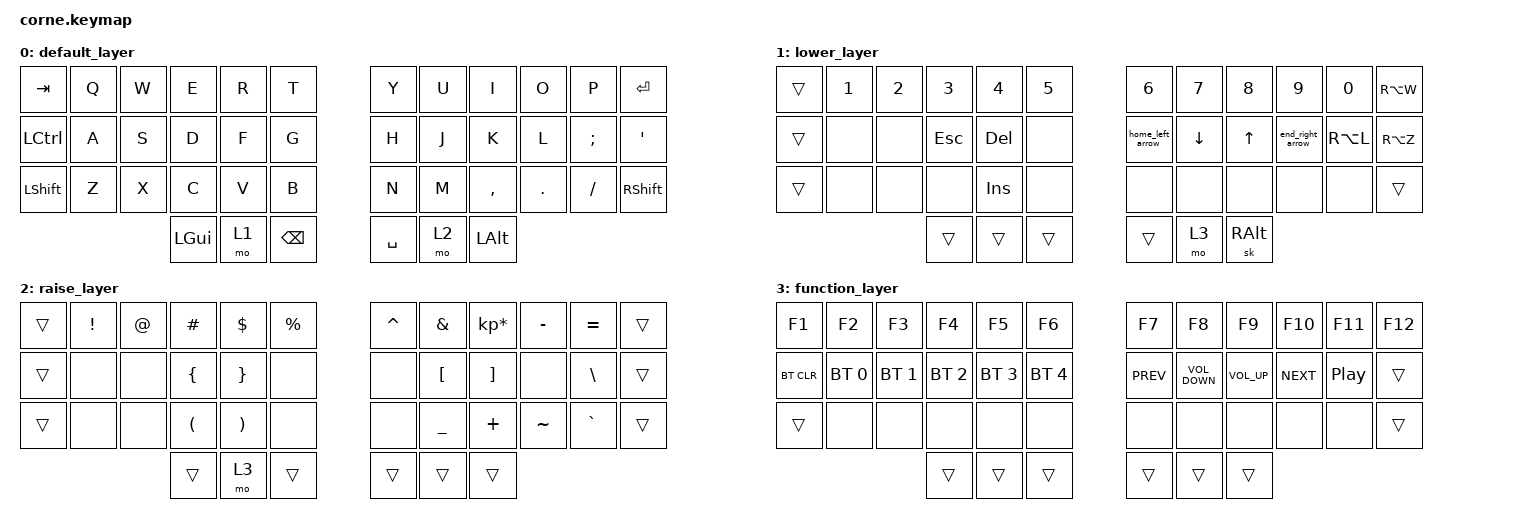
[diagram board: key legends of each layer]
/*
 * Copyright (c) 2020 The ZMK Contributors
 *
 * SPDX-License-Identifier: MIT
 */

#include <behaviors.dtsi>
#include <dt-bindings/zmk/bt.h>
#include <dt-bindings/zmk/keys.h>

/ {
    combos {
        compatible = "zmk,combos";
    };

    behaviors {
        end_right_arrow: end_right_arrow {
            compatible = "zmk,behavior-mod-morph";
            label = "END_RIGHT_ARROW";
            bindings = <&kp RIGHT>, <&kp END>;

            #binding-cells = <0>;
            mods = <(MOD_LALT|MOD_RALT)>;
        };
        home_left_arrow: home_left_arrow {
            compatible = "zmk,behavior-mod-morph";
            label = "HOME_LEFT_ARROW";
            bindings = <&kp LEFT>, <&kp HOME>;

            #binding-cells = <0>;
            mods = <(MOD_LALT|MOD_RALT)>;
        };
    };

    keymap {
        compatible = "zmk,keymap";

        default_layer {
            // -----------------------------------------------------------------------------------------
            // |  TAB |  Q  |  W  |  E  |  R  |  T  |   |  Y  |  U   |  I  |  O  |  P  | BKSP |
            // | CTRL |  A  |  S  |  D  |  F  |  G  |   |  H  |  J   |  K  |  L  |  ;  |  '   |
            // | SHFT |  Z  |  X  |  C  |  V  |  B  |   |  N  |  M   |  ,  |  .  |  /  | ESC  |
            //                    | GUI | LWR | SPC |   | ENT | RSE  | ALT |

            bindings = <
&kp TAB    &kp Q  &kp W  &kp E     &kp R  &kp T       &kp Y      &kp U  &kp I         &kp O    &kp P     &kp ENTER
&kp LCTRL  &kp A  &kp S  &kp D     &kp F  &kp G       &kp H      &kp J  &kp K         &kp L    &kp SEMI  &kp SQT
&kp LSHFT  &kp Z  &kp X  &kp C     &kp V  &kp B       &kp N      &kp M  &kp COMMA     &kp DOT  &kp FSLH  &kp RIGHT_SHIFT
                         &kp LGUI  &mo 1  &kp BSPC    &kp SPACE  &mo 2  &kp LEFT_ALT
            >;
        };

        lower_layer {
            // -----------------------------------------------------------------------------------------
            // |  TAB |  1  |  2  |  3  |  4  |  5  |   |  6  |  7  |  8  |  9  |  0  | BKSP |
            // | BTCLR| BT1 | BT2 | BT3 | BT4 | BT5 |   | LFT | DWN |  UP | RGT |     |      |
            // | SHFT |     |     |     |     |     |   |     |     |     |     |     |      |
            //                    | GUI |     | SPC |   | ENT |     | ALT |

            bindings = <
&trans  &kp N1  &kp N2  &kp N3   &kp N4      &kp N5    &kp N6            &kp N7    &kp N8         &kp N9            &kp N0     &kp RA(W)
&trans  &none   &none   &kp ESC  &kp DELETE  &none     &home_left_arrow  &kp DOWN  &kp UP         &end_right_arrow  &kp RA(L)  &kp RA(Z)
&trans  &none   &none   &none    &kp INSERT  &none     &none             &none     &none          &none             &none      &trans
                        &trans   &trans      &trans    &trans            &mo 3     &sk RIGHT_ALT
            >;
        };

        raise_layer {
            // -----------------------------------------------------------------------------------------
            // |  TAB |  !  |  @  |  #  |  $  |  %  |   |  ^  |  &  |  *  |  (  |  )  | BKSP |
            // | CTRL |     |     |     |     |     |   |  -  |  =  |  [  |  ]  |  \  |  `   |
            // | SHFT |     |     |     |     |     |   |  _  |  +  |  {  |  }  | "|" |  ~   |
            //                    | GUI |     | SPC |   | ENT |     | ALT |

            bindings = <
&trans  &kp EXCL  &kp AT  &kp HASH              &kp DLLR               &kp PRCNT    &kp CARET  &kp AMPS          &kp KP_MULTIPLY    &kp MINUS  &kp EQUAL      &trans
&trans  &none     &none   &kp LEFT_BRACE        &kp RIGHT_BRACE        &none        &none      &kp LEFT_BRACKET  &kp RIGHT_BRACKET  &none      &kp BACKSLASH  &trans
&trans  &none     &none   &kp LEFT_PARENTHESIS  &kp RIGHT_PARENTHESIS  &none        &none      &kp UNDERSCORE    &kp PLUS           &kp TILDE  &kp GRAVE      &trans
                          &trans                &mo 3                  &trans       &trans     &trans            &trans
            >;
        };

        function_layer {
            bindings = <
&kp F1      &kp F2        &kp F3        &kp F4        &kp F5        &kp F6          &kp F7      &kp F8             &kp F9           &kp F10     &kp F11   &kp F12
&bt BT_CLR  &bt BT_SEL 0  &bt BT_SEL 1  &bt BT_SEL 2  &bt BT_SEL 3  &bt BT_SEL 4    &kp C_PREV  &kp C_VOLUME_DOWN  &kp C_VOLUME_UP  &kp C_NEXT  &kp C_PP  &trans
&trans      &none         &none         &none         &none         &none           &none       &none              &none            &none       &none     &trans
                                        &trans        &trans        &trans          &trans      &trans             &trans
            >;
        };
    };
};
